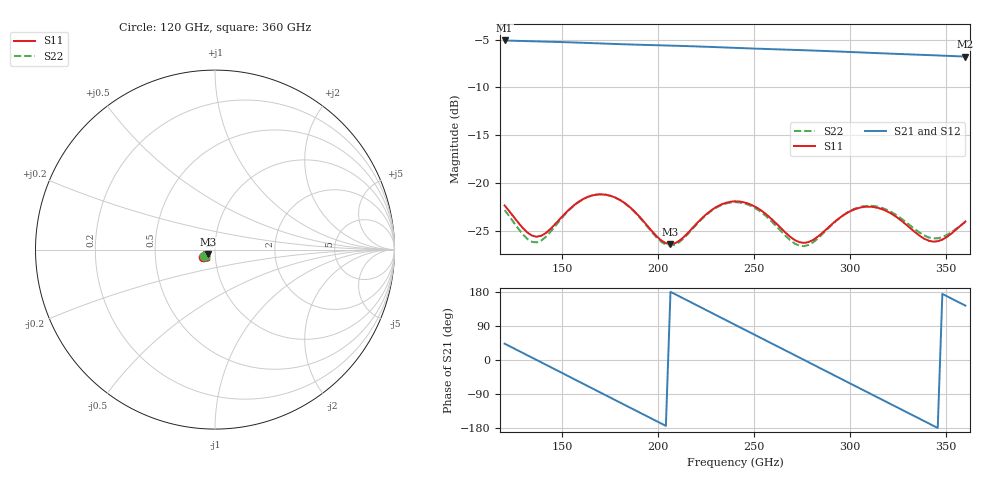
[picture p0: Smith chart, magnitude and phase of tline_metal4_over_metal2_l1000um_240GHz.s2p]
#  GHZ S DB R 50
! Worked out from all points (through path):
!   101 points, 120 GHz to 360 GHz, reference 50 ohm
!   highest |S21| = -5.10 dB at 120 GHz (marker M1); lowest = -6.8 dB at 360 GHz (marker M2)
!   group delay of S21, straight-line fit = 7.17 ps
!   lowest |S11| = -26.4 dB at 206.4 GHz (marker M3), VSWR 1.10, Z = 46.1 - j2.35 ohm
!   |S11| at or under -10 dB: start of sweep to end of sweep
!   |S22| runs from -26.6 to -21.2 dB; largest |S21 - S12| = 9.1e-13
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120  -22.36 -148.0  -5.10 43.1  -5.10 43.1  -22.84 -148.9
132  -25.21 -143.5  -5.17 12.2  -5.17 12.2  -25.89 -142.2
139.2  -25.52 -131.6  -5.21 -6.4  -5.21 -6.4  -26.02 -128.3
148.8  -23.77 -123.5  -5.26 -31.3  -5.26 -31.3  -23.91 -120.3
160.8  -21.70 -131.0  -5.34 -62.4  -5.34 -62.4  -21.71 -128.8
170.4  -21.19 -142.6  -5.41 -87.2  -5.41 -87.2  -21.19 -141.1
180  -21.77 -154.2  -5.48 -112.0  -5.48 -112.0  -21.78 -153.1
192  -23.93 -162.3  -5.56 -142.9  -5.56 -142.9  -24.00 -161.6
201.6  -26.02 -155.9  -5.61 -167.7  -5.61 -167.7  -26.16 -155.0
206.4  -26.40 -147.8  -5.64 179.9  -5.64 179.9  -26.56 -146.6
216  -25.12 -135.1  -5.70 155.0  -5.70 155.0  -25.22 -133.6
225.6  -23.18 -135.8  -5.76 130.2  -5.76 130.2  -23.25 -134.5
240  -21.93 -149.5  -5.87 93.0  -5.87 93.0  -22.02 -148.5
249.6  -22.39 -159.5  -5.94 68.2  -5.94 68.2  -22.53 -158.7
261.6  -24.27 -165.8  -6.03 37.3  -6.03 37.3  -24.54 -164.9
273.6  -26.20 -156.3  -6.10 6.3  -6.10 6.3  -26.57 -153.8
280.8  -25.95 -146.0  -6.15 -12.3  -6.15 -12.3  -26.20 -142.6
302.4  -22.75 -146.6  -6.32 -68.1  -6.32 -68.1  -22.69 -143.8
312  -22.52 -155.3  -6.40 -92.9  -6.40 -92.9  -22.41 -152.8
321.6  -23.24 -162.8  -6.48 -117.6  -6.48 -117.6  -23.06 -160.6
340.8  -26.04 -157.0  -6.63 -167.0  -6.63 -167.0  -25.70 -156.9
360  -24.04 -140.3  -6.79 143.5  -6.79 143.5  -24.08 -142.8
